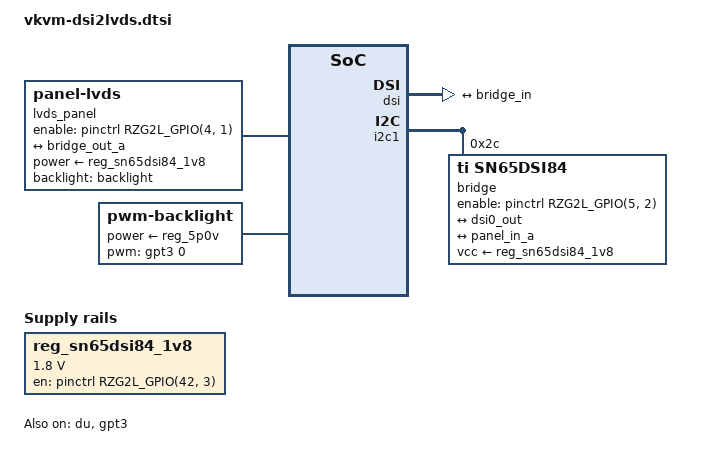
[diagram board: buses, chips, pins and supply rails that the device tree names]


/ {
	reg_sn65dsi84_1v8: regulator-lvds {
		compatible = "regulator-fixed";
		regulator-name = "vcc-lvds";

		regulator-min-microvolt = <1800000>;
		regulator-max-microvolt = <1800000>;

		gpio = <&pinctrl RZG2L_GPIO(42, 3) GPIO_ACTIVE_HIGH>;
		enable-active-high;

		startup-delay-us = <1000>;
		regulator-always-on;
		regulator-boot-on;
	};

	lvds_panel: lvds-panel {
		status = "okay";
		compatible = "panel-lvds";

		power-supply = <&reg_sn65dsi84_1v8>;
		backlight = <&backlight>;

		rotation = <90>;

		width-mm = <344>;
		height-mm = <194>;

		enable-gpios = <&pinctrl RZG2L_GPIO(4, 1) GPIO_ACTIVE_HIGH>;

		data-mapping = "jeida-18";

		panel-timing {
			clock-frequency = <69300000>;
		    
			hactive = <1366>;
			vactive = <768>;

			hfront-porch = <16>;
			hsync-len = <34>;
			hback-porch = <50>;

			vfront-porch = <12>;
			vsync-len = <6>;
			vback-porch = <2>;

			hsync-active = <0>;
			vsync-active = <0>;
			de-active = <1>;
			pixelclk-active = <0>;
		};

		port {
			panel_in_a: endpoint {
				remote-endpoint = <&bridge_out_a>;
			};
		};
	};

	backlight: backlight {
		compatible = "pwm-backlight";
		brightness-levels = <0 8 32 64 96 128 160 192 224 255>;
		default-brightness-level = <8>;
		power-supply = <&reg_5p0v>;
		pwms = <&gpt3 0 40000 0>;
		status = "okay";
	};
};

&du {
	status = "okay";
};

&dsi {
	status = "okay";
	ports {
		#address-cells = <1>;
		#size-cells = <0>;
		port@1 {
			reg = <1>;
			dsi0_out: endpoint {
				data-lanes = <1 2 3 4>;
				remote-endpoint = <&bridge_in>;
			};
		};
	};
};

&i2c1 {
	#address-cells = <1>;
	#size-cells = <0>;

	bridge@2c {
		status = "okay";
		compatible = "ti,sn65dsi84";

		reg = <0x2c>;
		enable-gpios = <&pinctrl RZG2L_GPIO(5, 2) GPIO_ACTIVE_HIGH>;

		vcc-supply = <&reg_sn65dsi84_1v8>;

		ports {
			#address-cells = <1>;
			#size-cells = <0>;

			port@0 {
				reg = <0>;
				bridge_in: endpoint {
					remote-endpoint = <&dsi0_out>;
					data-lanes = <1 2 3 4>;
				};
			};

			port@2 {
				reg = <2>;
				bridge_out_a: endpoint {
					remote-endpoint = <&panel_in_a>;
				};
			};
			// port@3 {
			// 	reg = <3>;
			// 	bridge_out_b: endpoint {
			// 		remote-endpoint = <&panel_in_b>;
			// 	};
			// };
		};
	};
};


&pinctrl {
	gpt3_pins: gpt3 {
		pinmux = <RZG2L_PORT_PINMUX(19, 1, 2)>; /* Channel B */
	};
};

&gpt3 {
	pinctrl-0 = <&gpt3_pins>;
	pinctrl-names = "default";
	channel="channel_B";
	status = "okay";
};
